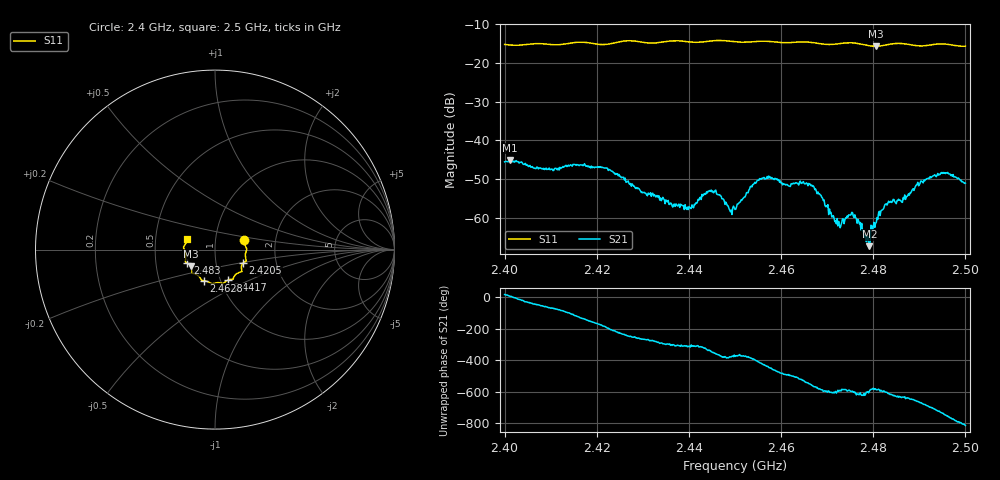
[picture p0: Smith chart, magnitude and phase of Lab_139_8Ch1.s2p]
# Hz S RI R 50
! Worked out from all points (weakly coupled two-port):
!   601 points, 2.4 GHz to 2.5 GHz, reference 50 ohm
!   highest |S21| = -45.10 dB at 2.4012 GHz (marker M1); lowest = -67.4 dB at 2.4792 GHz (marker M2)
!   lowest |S11| = -15.7 dB at 2.4805 GHz (marker M3), VSWR 1.39, Z = 37.5 - j7.1 ohm
!   |S11| at or under -10 dB: start of sweep to end of sweep
!   S12 and S22 are empty: the file has one direction only
!   S11 on the Smith chart (normalised r, x): 2.4 GHz: 1.38, +0.16; 2.4205 GHz: 1.35, -0.21; 2.4417 GHz: 1.08, -0.38; 2.4628 GHz: 0.83, -0.30; 2.483 GHz: 0.73, -0.11; 2.5 GHz: 0.73, +0.09
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2.4e9  0.1638 0.0559  0.00503 0.00153  0 0  0 0
2.401167e9  0.1642 0.0448  0.00553 0.000552  0 0  0 0
2.410333e9  0.1715 -0.015  0.00147 -0.00396  0 0  0 0
2.416667e9  0.1741 -0.0634  -0.00327 -0.00349  0 0  0 0
2.4205e9  0.1554 -0.0766  -0.00451 -0.000667  0 0  0 0
2.433333e9  0.1072 -0.1476  0.000477 0.00177  0 0  0 0
2.439833e9  0.0874 -0.1657  0.00085 0.000945  0 0  0 0
2.441667e9  0.0718 -0.1698  0.000984 0.00117  0 0  0 0
2.445333e9  0.0493 -0.1868  0.00207 0.000334  0 0  0 0
2.448833e9  0.0369 -0.1873  0.0012 -0.000386  0 0  0 0
2.45e9  0.0289 -0.1853  0.00123 -0.000362  0 0  0 0
2.455833e9  -0.0142 -0.1901  0.00151 -0.00286  0 0  0 0
2.462833e9  -0.0627 -0.1732  -0.00226 -0.00156  0 0  0 0
2.466667e9  -0.0772 -0.1667  -0.00249 0.000838  0 0  0 0
2.472333e9  -0.1132 -0.1349  -0.0005 0.000602  0 0  0 0
2.4755e9  -0.1269 -0.1298  -0.000644 0.000969  0 0  0 0
2.479167e9  -0.1289 -0.105  -0.000236 0.000357  0 0  0 0
2.4805e9  -0.1353 -0.0921  -0.000623 0.000568  0 0  0 0
2.483e9  -0.1543 -0.0752  -0.000632 0.00131  0 0  0 0
2.483333e9  -0.1566 -0.0737  -0.000492 0.00156  0 0  0 0
2.495e9  -0.1753 0.0145  0.00358 -0.00106  0 0  0 0
2.5e9  -0.1538 0.0576  -0.000202 -0.00279  0 0  0 0
